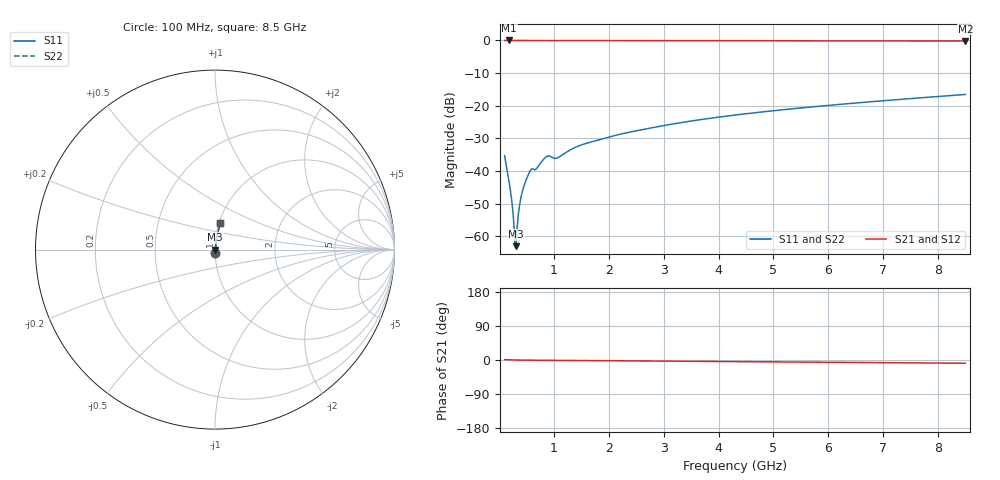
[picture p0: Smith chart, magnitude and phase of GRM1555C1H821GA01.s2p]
!Murata Part Number: GRM1555C1H821GA01
!These Parameters are Measured in Series Mode Connection
!Data Generated on Mar 30, 2021
!  o--ll--o
!Port1  Port2
!  o------o
!Operation Temp=25[degC], DC Bias Voltage=0[V]
!Freq. Start=100[MHz] Stop=9[GHz] 401[Steps]
# Hz S RI R 50
!Freq.(Hz) S11(Real) S11(Imag) S21(Real) S21(Imag) S12(Real) S12(Imag) S22(Real) S22(Imag)
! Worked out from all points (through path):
!   401 points, 100 MHz to 8.5 GHz, reference 50 ohm
!   highest |S21| = 0.00 dB at 184 MHz (marker M1); lowest = -0.2 dB at 8.5 GHz (marker M2)
!   group delay of S21, straight-line fit = 2.8 ps
!   lowest |S11| = -63.0 dB at 310 MHz (marker M3), VSWR 1.00, Z = 50.1 + j0.043 ohm
!   |S11| at or under -10 dB: start of sweep to end of sweep
!   |S22| runs from -63.0 to -16.5 dB; largest |S21 - S12| = 0
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1e8  0.000713 -0.0173  0.9993 0.0173  0.9993 0.0173  0.000713 -0.0173
1.42e8  0.000543 -0.0106  0.9995 0.0106  0.9995 0.0106  0.000543 -0.0106
1.84e8  0.000495 -0.00662  0.9995 0.00662  0.9995 0.00662  0.000495 -0.00662
2.26e8  0.000493 -0.00376  0.9995 0.00376  0.9995 0.00376  0.000493 -0.00376
2.68e8  0.000518 -0.00149  0.9995 0.00149  0.9995 0.00149  0.000518 -0.00149
2.89e8  0.000538 -0.000496  0.9995 0.000496  0.9995 0.000496  0.000538 -0.000496
3.1e8  0.000564 0.000429  0.9994 -0.000429  0.9994 -0.000429  0.000564 0.000429
3.31e8  0.000594 0.0013  0.9994 -0.0013  0.9994 -0.0013  0.000594 0.0013
3.73e8  0.000674 0.00294  0.9993 -0.00294  0.9993 -0.00294  0.000674 0.00294
4.15e8  0.000788 0.00447  0.9992 -0.00447  0.9992 -0.00447  0.000788 0.00447
4.78e8  0.00108 0.00672  0.9989 -0.00672  0.9989 -0.00672  0.00108 0.00672
5.62e8  0.00226 0.00968  0.9977 -0.00968  0.9977 -0.00968  0.00226 0.00968
6.88e8  0.00283 0.0107  0.9972 -0.0107  0.9972 -0.0107  0.00283 0.0107
8.77e8  0.00552 0.0159  0.9945 -0.0159  0.9945 -0.0159  0.00552 0.0159
1.066e9  0.00472 0.0152  0.9953 -0.0152  0.9953 -0.0152  0.00472 0.0152
1.507e9  0.00461 0.0249  0.9954 -0.0249  0.9954 -0.0249  0.00461 0.0249
2.221e9  0.00576 0.0365  0.9942 -0.0365  0.9942 -0.0365  0.00576 0.0365
2.914e9  0.00681 0.0477  0.9932 -0.0477  0.9932 -0.0477  0.00681 0.0477
4.3e9  0.0107 0.0712  0.9893 -0.0712  0.9893 -0.0712  0.0107 0.0712
5.707e9  0.016 0.0948  0.984 -0.0948  0.984 -0.0948  0.016 0.0948
7.114e9  0.0223 0.1194  0.9777 -0.1194  0.9777 -0.1194  0.0223 0.1194
8.5e9  0.0302 0.1458  0.9698 -0.1458  0.9698 -0.1458  0.0302 0.1458
